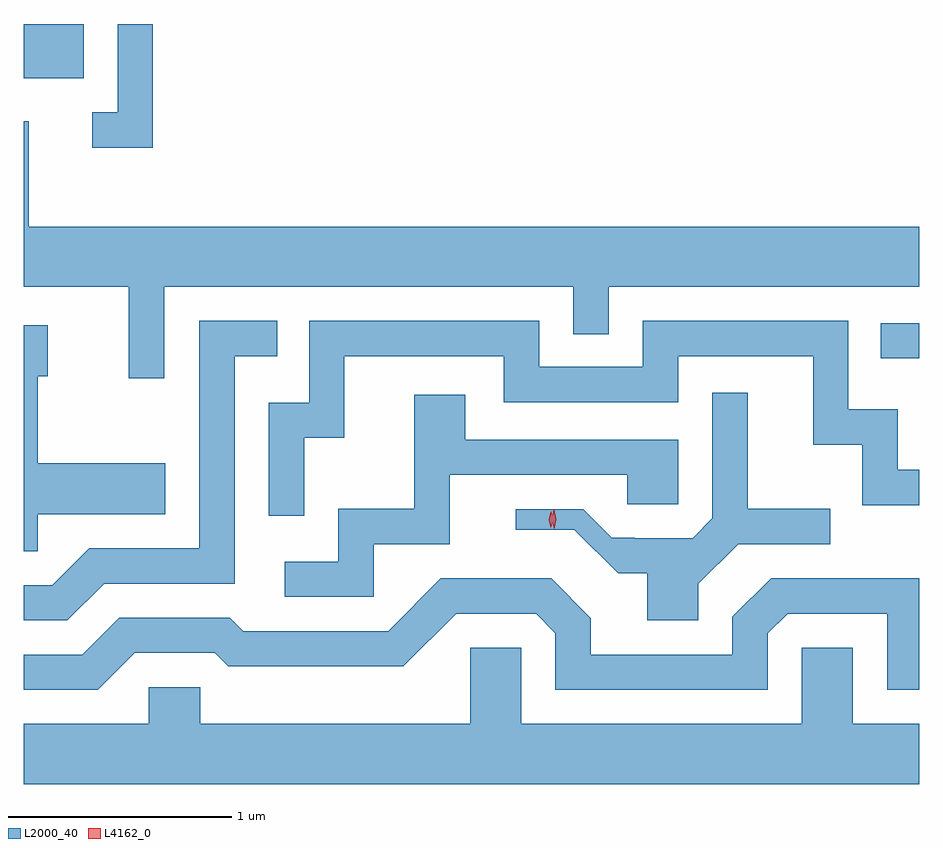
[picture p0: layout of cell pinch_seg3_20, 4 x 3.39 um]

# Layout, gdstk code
import gdstk
lib = gdstk.Library(unit=1e-6, precision=1e-09)
def R(c, l, rs):  # rectangles x0, y0, x1, y1
    for r in rs: c.add(gdstk.rectangle(r[:2], r[2:], *l))
def P(c, l, *ps):  # polygons
    for p in ps: c.add(gdstk.Polygon(p, *l))
L2000_40 = (2000, 40)
L4162_0 = (4162, 0)

pinch_seg3_20 = lib.new_cell('pinch_seg3_20')
R(pinch_seg3_20, L2000_40, [(1885.603,1165.656,1885.776,1165.814), (1881.776,1166.906,1882.044,1167.149)])
P(pinch_seg3_20, L2000_40, [(1882.354,1167.149),(1882.196,1167.149),(1882.196,1166.754),(1882.083,1166.754),(1882.083,1166.596),(1882.354,1166.596)],
  [(1882.404,1165.976),(1884.231,1165.976),(1884.231,1165.763),(1884.389,1165.763),(1884.389,1165.976),(1885.776,1165.976),(1885.776,1166.244),(1881.799,1166.244),(1881.799,1166.714),(1881.776,1166.714),(1881.776,1165.976),(1882.246,1165.976),(1882.246,1165.568),(1882.404,1165.568)],
  [(1883.029,1165.301),(1883.209,1165.301),(1883.209,1165.666),(1883.921,1165.666),(1883.921,1165.461),(1884.699,1165.461),(1884.699,1165.666),(1885.301,1165.666),(1885.301,1165.271),(1885.521,1165.271),(1885.521,1165.001),(1885.776,1165.001),(1885.776,1165.159),(1885.679,1165.159),(1885.679,1165.429),(1885.459,1165.429),(1885.459,1165.824),(1884.541,1165.824),(1884.541,1165.619),(1884.079,1165.619),(1884.079,1165.824),(1883.051,1165.824),(1883.051,1165.459),(1882.871,1165.459),(1882.871,1164.953),(1883.029,1164.953)],
  [(1882.137,1164.651),(1882.719,1164.651),(1882.719,1165.666),(1882.908,1165.666),(1882.908,1165.824),(1882.561,1165.824),(1882.561,1164.809),(1882.069,1164.809),(1881.904,1164.644),(1881.776,1164.644),(1881.776,1164.486),(1881.972,1164.486)],
  [(1881.839,1164.961),(1882.409,1164.961),(1882.409,1165.189),(1881.839,1165.189),(1881.839,1165.576),(1881.884,1165.576),(1881.884,1165.804),(1881.776,1165.804),(1881.776,1164.796),(1881.839,1164.796)],
  [(1884.789,1164.649),(1884.967,1164.826),(1885.378,1164.826),(1885.378,1164.984),(1885.009,1164.984),(1885.009,1165.503),(1884.851,1165.503),(1884.851,1164.942),(1884.764,1164.854),(1884.505,1164.854),(1884.505,1164.856),(1884.402,1164.856),(1884.276,1164.982),(1883.973,1164.982),(1883.973,1164.892),(1884.235,1164.892),(1884.431,1164.696),(1884.561,1164.696),(1884.561,1164.486),(1884.789,1164.486)],
  [(1883.339,1164.826),(1883.679,1164.826),(1883.679,1165.136),(1884.471,1165.136),(1884.471,1165.006),(1884.699,1165.006),(1884.699,1165.294),(1883.749,1165.294),(1883.749,1165.494),(1883.521,1165.494),(1883.521,1164.984),(1883.181,1164.984),(1883.181,1164.749),(1882.943,1164.749),(1882.943,1164.591),(1883.339,1164.591)],
  [(1882.272,1164.341),(1882.629,1164.341),(1882.689,1164.281),(1883.472,1164.281),(1883.707,1164.516),(1884.064,1164.516),(1884.151,1164.429),(1884.151,1164.176),(1885.099,1164.176),(1885.099,1164.429),(1885.187,1164.516),(1885.631,1164.516),(1885.631,1164.176),(1885.776,1164.176),(1885.776,1164.674),(1885.114,1164.674),(1884.941,1164.502),(1884.941,1164.334),(1884.309,1164.334),(1884.309,1164.497),(1884.132,1164.674),(1883.639,1164.674),(1883.404,1164.439),(1882.757,1164.439),(1882.697,1164.499),(1882.204,1164.499),(1882.039,1164.334),(1881.776,1164.334),(1881.776,1164.176),(1882.107,1164.176)],
  [(1885.776,1164.024),(1885.479,1164.024),(1885.479,1164.364),(1885.251,1164.364),(1885.251,1164.024),(1883.999,1164.024),(1883.999,1164.364),(1883.771,1164.364),(1883.771,1164.024),(1882.564,1164.024),(1882.564,1164.189),(1882.336,1164.189),(1882.336,1164.024),(1881.776,1164.024),(1881.776,1163.756),(1885.776,1163.756)])
P(pinch_seg3_20, L4162_0, [(1884.146,1164.892),(1884.145,1164.893),(1884.135,1164.937),(1884.144,1164.981),(1884.145,1164.982),(1884.145,1164.981),(1884.155,1164.937),(1884.146,1164.893)],
  [(1884.129,1164.899),(1884.12,1164.936),(1884.13,1164.972),(1884.13,1164.972),(1884.131,1164.972),(1884.14,1164.935),(1884.13,1164.899),(1884.13,1164.899)])

lib.write_gds('pinch_seg3_20.gds')
